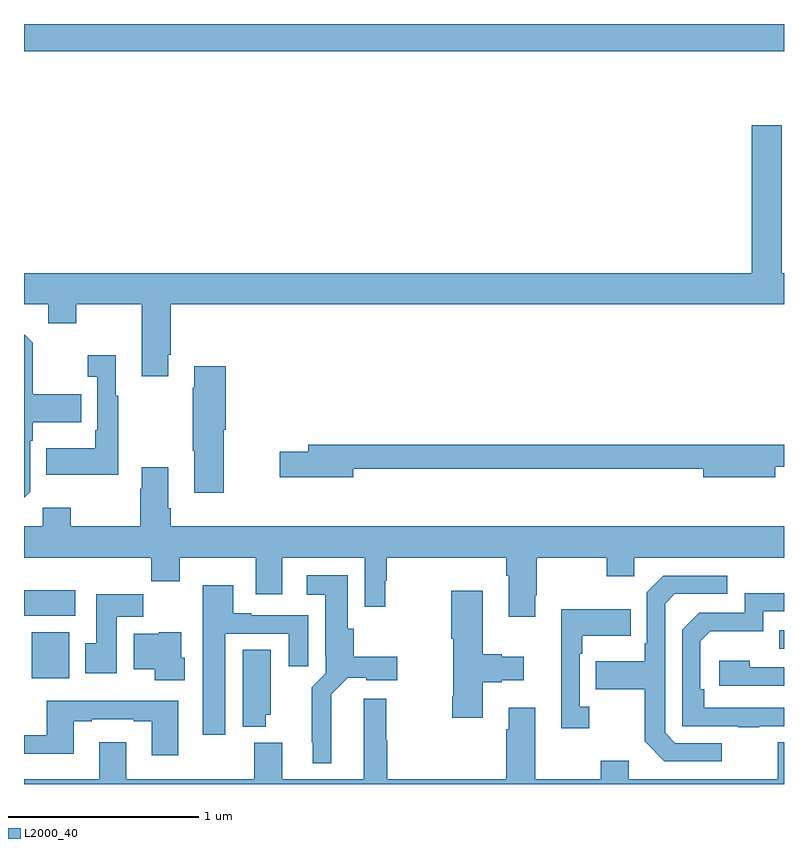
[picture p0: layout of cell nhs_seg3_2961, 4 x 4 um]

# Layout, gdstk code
import gdstk
lib = gdstk.Library(unit=1e-6, precision=1e-09)
def R(c, l, rs):  # rectangles x0, y0, x1, y1
    for r in rs: c.add(gdstk.rectangle(r[:2], r[2:], *l))
def P(c, l, *ps):  # polygons
    for p in ps: c.add(gdstk.Polygon(p, *l))
L2000_40 = (2000, 40)

nhs_seg3_2961 = lib.new_cell('nhs_seg3_2961')
R(nhs_seg3_2961, L2000_40, [(265.04,690.956,265.237,691.198), (268.975,691.113,269,691.209), (265,691.286,265.27,691.42), (265,694.256,269,694.4)])
P(nhs_seg3_2961, L2000_40, [(265.759,692.659),(265.772,692.659),(265.772,692.924),(269,692.924),(269,693.088),(268.989,693.088),(268.989,693.868),(268.829,693.868),(268.829,693.088),(265,693.088),(265,692.924),(265.127,692.924),(265.127,692.825),(265.275,692.825),(265.275,692.924),(265.619,692.924),(265.619,692.547),(265.759,692.547)],
  [(265.032,691.938),(265.032,692.207),(265.045,692.207),(265.045,692.303),(265.301,692.303),(265.301,692.451),(265.045,692.451),(265.045,692.723),(265,692.768),(265,691.906)],
  [(265.495,692.443),(265.483,692.443),(265.483,692.656),(265.335,692.656),(265.335,692.543),(265.386,692.543),(265.386,692.263),(265.374,692.263),(265.374,692.167),(265.117,692.167),(265.117,692.027),(265.495,692.027)],
  [(266.05,692.265),(266.063,692.265),(266.063,692.599),(265.895,692.599),(265.895,692.486),(265.888,692.486),(265.888,692.155),(265.895,692.155),(265.895,691.932),(266.05,691.932)],
  [(266.734,692.058),(268.574,692.058),(268.574,692.015),(268.954,692.015),(268.954,692.069),(269,692.069),(269,692.186),(266.495,692.186),(266.495,692.15),(266.346,692.15),(266.346,692.015),(266.734,692.015)],
  [(267.691,691.393),(267.699,691.393),(267.699,691.592),(268.066,691.592),(268.066,691.493),(268.212,691.493),(268.212,691.592),(269,691.592),(269,691.756),(265.772,691.756),(265.772,691.852),(265.759,691.852),(265.759,692.068),(265.619,692.068),(265.619,691.955),(265.612,691.955),(265.612,691.756),(265.245,691.756),(265.245,691.855),(265.098,691.855),(265.098,691.756),(265,691.756),(265,691.592),(265.669,691.592),(265.669,691.468),(265.821,691.468),(265.821,691.592),(266.219,691.592),(266.219,691.398),(266.359,691.398),(266.359,691.592),(266.793,691.592),(266.793,691.332),(266.902,691.332),(266.902,691.47),(266.909,691.47),(266.909,691.592),(267.539,691.592),(267.539,691.496),(267.551,691.496),(267.551,691.281),(267.691,691.281)],
  [(266.617,690.872),(266.703,690.959),(266.802,690.959),(266.802,690.947),(266.965,690.947),(266.965,691.069),(266.735,691.069),(266.735,691.218),(266.704,691.218),(266.704,691.498),(266.487,691.498),(266.487,691.397),(266.585,691.397),(266.585,691.078),(266.589,691.078),(266.589,690.984),(266.515,690.91),(266.515,690.619),(266.519,690.619),(266.519,690.509),(266.617,690.509)],
  [(268.672,690.615),(268.428,690.615),(268.374,690.669),(268.374,691.35),(268.425,691.401),(268.702,691.401),(268.702,691.497),(268.365,691.497),(268.278,691.41),(268.278,691.141),(268.266,691.141),(268.266,691.045),(268.009,691.045),(268.009,690.898),(268.266,690.898),(268.266,690.625),(268.371,690.519),(268.672,690.519)],
  [(266.059,691.191),(266.393,691.191),(266.393,691.02),(266.497,691.02),(266.497,691.287),(266.197,691.287),(266.197,691.3),(266.101,691.3),(266.101,691.447),(265.94,691.447),(265.94,690.66),(266.059,690.66)],
  [(267.415,690.935),(267.515,690.935),(267.515,690.947),(267.631,690.947),(267.631,691.069),(267.515,691.069),(267.515,691.082),(267.415,691.082),(267.415,691.417),(267.248,691.417),(267.248,691.165),(267.26,691.165),(267.26,690.862),(267.253,690.862),(267.253,690.75),(267.415,690.75)],
  [(268.871,690.705),(269,690.705),(269,690.801),(268.58,690.801),(268.58,690.898),(268.56,690.898),(268.56,691.152),(268.613,691.205),(268.89,691.205),(268.89,691.308),(269,691.308),(269,691.404),(268.794,691.404),(268.794,691.302),(268.554,691.302),(268.464,691.212),(268.464,690.705),(268.759,690.705),(268.759,690.7),(268.871,690.7)],
  [(265.489,691.28),(265.628,691.28),(265.628,691.399),(265.379,691.399),(265.379,691.14),(265.322,691.14),(265.322,690.984),(265.489,690.984)],
  [(267.976,690.806),(267.924,690.806),(267.924,691.085),(267.937,691.085),(267.937,691.181),(268.193,691.181),(268.193,691.321),(267.827,691.321),(267.827,690.693),(267.976,690.693)],
  [(265.846,691.065),(265.828,691.065),(265.828,691.198),(265.71,691.198),(265.71,691.192),(265.577,691.192),(265.577,691.004),(265.688,691.004),(265.688,690.947),(265.846,690.947)],
  [(266.272,690.765),(266.299,690.765),(266.299,691.106),(266.15,691.106),(266.15,690.701),(266.272,690.701)],
  [(269,691.014),(268.82,691.014),(268.82,691.048),(268.659,691.048),(268.659,690.918),(269,690.918)],
  [(269,690.619),(268.967,690.619),(268.967,690.424),(268.183,690.424),(268.183,690.523),(268.036,690.523),(268.036,690.424),(267.691,690.424),(267.691,690.802),(267.551,690.802),(267.551,690.689),(267.539,690.689),(267.539,690.424),(266.912,690.424),(266.912,690.629),(266.907,690.629),(266.907,690.85),(266.789,690.85),(266.789,690.424),(266.359,690.424),(266.359,690.616),(266.212,690.616),(266.212,690.424),(265.537,690.424),(265.537,690.619),(265.397,690.619),(265.397,690.424),(265,690.424),(265,690.4),(269,690.4)],
  [(265.813,690.838),(265.121,690.838),(265.121,690.657),(265,690.657),(265,690.56),(265.261,690.56),(265.261,690.729),(265.357,690.729),(265.357,690.741),(265.577,690.741),(265.577,690.729),(265.673,690.729),(265.673,690.552),(265.813,690.552)])

lib.write_gds('nhs_seg3_2961.gds')
